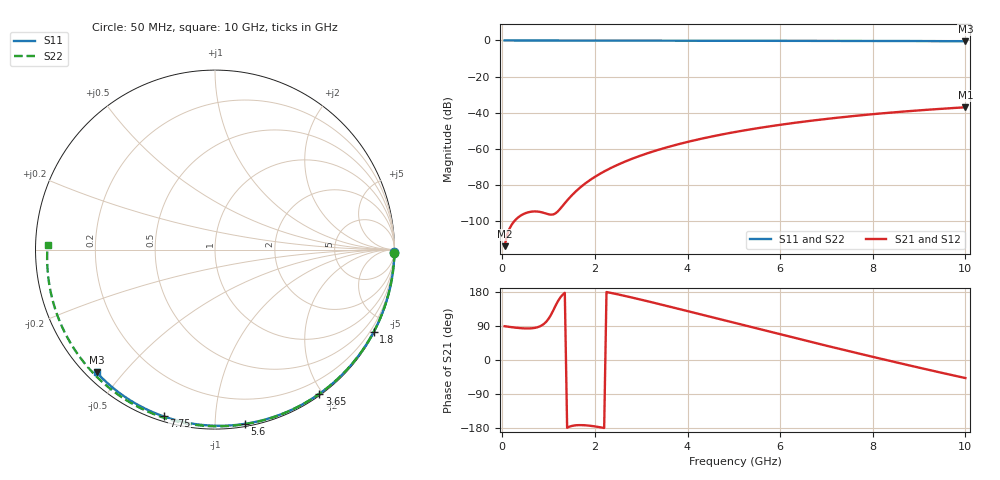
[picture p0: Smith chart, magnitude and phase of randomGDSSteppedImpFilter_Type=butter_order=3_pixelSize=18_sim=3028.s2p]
! freq	dB(S11)	phase(S11)	dB(S12)	phase(S12)
!  dB(S21)	phase(S21)	dB(S22)	phase(S22)
!S-par simulation data
#  GHz  S  DB  R 50
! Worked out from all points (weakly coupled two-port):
!   200 points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, 50 MHz to 10 GHz, reference 50 ohm
!   highest |S21| = -37.09 dB at 10 GHz (marker M1); lowest = -114.1 dB at 50 MHz (marker M2)
!   lowest |S11| = -0.4 dB at 10 GHz (marker M3), VSWR 39.07, Z = 1.51 - j21.2 ohm
!   |S11| at or under -10 dB: nowhere
!   |S22| runs from -0.6 to 0.0 dB; largest |S21 - S12| = 0
!   S11 on the Smith chart (normalised r, x): 50 MHz: open; 1.8 GHz: 0.04, -4.12; 3.65 GHz: 0.02, -1.96; 5.6 GHz: 0.02, -1.18; 7.75 GHz: 0.02, -0.74; 10 GHz: 0.03, -0.42
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0.05  -0.00 -0.8  -114.14 89.1  -114.14 89.1  -0.00 -1.0
0.45  -0.01 -6.9  -96.40 83.5  -96.40 83.5  -0.01 -9.0
0.85  -0.02 -13.0  -95.32 91.1  -95.32 91.1  -0.02 -17.0
1.3  -0.02 -19.8  -91.86 171.8  -91.86 171.8  -0.03 -25.9
1.75  -0.03 -26.6  -80.16 -172.0  -80.16 -172.0  -0.04 -34.6
1.8  -0.03 -27.3  -79.18 -172.4  -79.18 -172.4  -0.05 -35.6
2.1  -0.04 -31.7  -74.12 -177.2  -74.12 -177.2  -0.05 -41.4
2.5  -0.05 -37.6  -68.88 173.1  -68.88 173.1  -0.06 -49.0
2.9  -0.06 -43.4  -64.70 162.0  -64.70 162.0  -0.07 -56.5
3.4  -0.07 -50.6  -60.45 147.2  -60.45 147.2  -0.09 -65.7
3.65  -0.07 -54.1  -58.61 139.7  -58.61 139.7  -0.10 -70.3
4.35  -0.09 -63.8  -54.23 118.3  -54.23 118.3  -0.12 -82.8
5.05  -0.11 -73.2  -50.69 96.7  -50.69 96.7  -0.15 -95.0
5.6  -0.13 -80.4  -48.33 79.9  -48.33 79.9  -0.17 -104.4
6.15  -0.15 -87.4  -46.26 63.2  -46.26 63.2  -0.21 -113.8
6.7  -0.18 -94.3  -44.44 46.7  -44.44 46.7  -0.24 -123.0
7.2  -0.21 -100.5  -42.97 31.8  -42.97 31.8  -0.28 -131.5
7.75  -0.24 -107.1  -41.51 15.6  -41.51 15.6  -0.33 -140.8
8.35  -0.29 -114.3  -40.11 -1.8  -40.11 -1.8  -0.39 -151.2
9.2  -0.36 -124.4  -38.41 -25.8  -38.41 -25.8  -0.49 -166.4
9.6  -0.40 -129.1  -37.72 -36.8  -37.72 -36.8  -0.55 -173.9
10  -0.44 -133.9  -37.09 -47.6  -37.09 -47.6  -0.60 178.3
